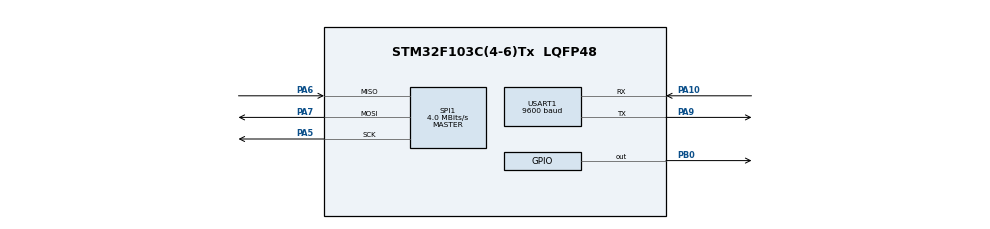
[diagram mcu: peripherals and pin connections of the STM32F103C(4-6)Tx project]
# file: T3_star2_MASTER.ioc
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Mcu.Family=STM32F1
Mcu.Name=STM32F103C(4-6)Tx
Mcu.Package=LQFP48
NVIC.PriorityGroup=NVIC_PRIORITYGROUP_4
PA10.Mode=Asynchronous
PA10.Signal=USART1_RX
PA13.Mode=Serial_Wire
PA13.Signal=SYS_JTMS-SWDIO
PA14.Mode=Serial_Wire
PA14.Signal=SYS_JTCK-SWCLK
PA5.Mode=Full_Duplex_Master
PA5.Signal=SPI1_SCK
PA6.Mode=Full_Duplex_Master
PA6.Signal=SPI1_MISO
PA7.Mode=Full_Duplex_Master
PA7.Signal=SPI1_MOSI
PA9.Mode=Asynchronous
PA9.Signal=USART1_TX
PB0.Signal=GPIO_Output
ProjectManager.HeapSize=0x200
ProjectManager.StackSize=0x400
ProjectManager.TargetToolchain=STM32CubeIDE
RCC.APB1Freq_Value=8000000
RCC.APB2Freq_Value=8000000
SPI1.CalculateBaudRate=4.0 MBits/s
SPI1.Direction=SPI_DIRECTION_2LINES
SPI1.Mode=SPI_MODE_MASTER
SPI1.VirtualType=VM_MASTER
USART1.BaudRate=9600
USART1.VirtualMode=VM_ASYNC
board=custom

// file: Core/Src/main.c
/* USER CODE BEGIN Header */
/**
 ******************************************************************************
 * @file           : main.c
 * @brief          : Main program body
 ******************************************************************************
 * @attention
 *
 * Copyright (c) 2025 STMicroelectronics.
 * All rights reserved.
 *
 * This software is licensed under terms that can be found in the LICENSE file
 * in the root directory of this software component.
 * If no LICENSE file comes with this software, it is provided AS-IS.
 *
 ******************************************************************************
 */
/* USER CODE END Header */
#include "main.h"

/* USER CODE BEGIN PTD */
typedef struct
{
  uint16_t case_id;
  float voltage;
  uint16_t speed;
} CaseData;

CaseData cases[5] = {
    {0x1001, 12.3, 200},
    {0x1002, 14.2, 150},
    {0x1003, 13.8, 100},
    {0x1004, 11.5, 220},
    {0x1005, 10.9, 280}};

/* USER CODE END PTD */

SPI_HandleTypeDef hspi1;

UART_HandleTypeDef huart1;

void SystemClock_Config(void);
static void MX_GPIO_Init(void);
static void MX_SPI1_Init(void);
static void MX_USART1_UART_Init(void);

int main(void)
{

  /* MCU Configuration--------------------------------------------------------*/

  /* Reset of all peripherals, Initializes the Flash interface and the Systick. */
  HAL_Init();

  /* Configure the system clock */
  SystemClock_Config();

  /* Initialize all configured peripherals */
  MX_GPIO_Init();
  MX_SPI1_Init();
  MX_USART1_UART_Init();
  HAL_SPI_Init(&hspi1);
  /* USER CODE BEGIN 2 */

  char x[] = "Enter case number (1-5): ";
  uint8_t rx_uart;
  uint16_t case_id;
  uint8_t tx_id[2];
  uint8_t rx_data[3];
  uint8_t dummy_tx[3] = {0xFF, 0xFF, 0xFF};
  char outmsg[80];

  /* USER CODE END 2 */

  /* Infinite loop */
  /* USER CODE BEGIN WHILE */
  while (1)
  {
    HAL_UART_Transmit(&huart1, (uint8_t *)x, strlen(x), HAL_MAX_DELAY);

    // Read input from UART
    HAL_UART_Receive(&huart1, (uint8_t *)&rx_uart, 1, HAL_MAX_DELAY);

    if (rx_uart < '1' || rx_uart > '5')
    {
      char err[] = "Invalid input. Enter 1..5\r\n";
      HAL_UART_Transmit(&huart1, (uint8_t *)err, strlen(err), HAL_MAX_DELAY);
      HAL_Delay(50);
      continue;
    }

    case_id = 0x1000 + (rx_uart - '0');
    HAL_UART_Transmit(&huart1, (uint8_t *)"\r\n", 2, HAL_MAX_DELAY);

    tx_id[0] = (case_id >> 8) & 0xFF;
    tx_id[1] = case_id & 0xFF;

    // Send Case ID
    HAL_GPIO_WritePin(GPIOB, GPIO_PIN_0, GPIO_PIN_RESET);
    HAL_SPI_Transmit(&hspi1, tx_id, 2, HAL_MAX_DELAY);
    HAL_GPIO_WritePin(GPIOB, GPIO_PIN_0, GPIO_PIN_SET);

    // Read encoded response
    HAL_GPIO_WritePin(GPIOB, GPIO_PIN_0, GPIO_PIN_RESET);
    HAL_SPI_TransmitReceive(&hspi1, dummy_tx, rx_data, 3, HAL_MAX_DELAY);
    HAL_GPIO_WritePin(GPIOB, GPIO_PIN_0, GPIO_PIN_SET);

    // Decode
    uint32_t encoded = ((uint32_t)rx_data[0] << 16) |
                       ((uint32_t)rx_data[1] << 8) |
                       (uint32_t)rx_data[2];

    float voltage = (float)(encoded >> 12) / 10.0f;

    uint16_t speed = (uint16_t)(encoded & 0x0FFF);

    int len = snprintf(outmsg, sizeof(outmsg),
                       "Case 0x%04X => Voltage: %.1f V, Speed: %d RPM\r\n",
                       case_id, voltage, speed);
    HAL_UART_Transmit(&huart1, (uint8_t *)outmsg, len, HAL_MAX_DELAY);

    HAL_Delay(50);
    /* USER CODE END WHILE */

  }
}

void SystemClock_Config(void)
{
  RCC_OscInitTypeDef RCC_OscInitStruct = {0};
  RCC_ClkInitTypeDef RCC_ClkInitStruct = {0};

  /** Initializes the RCC Oscillators according to the specified parameters
  * in the RCC_OscInitTypeDef structure.
  */
  RCC_OscInitStruct.OscillatorType = RCC_OSCILLATORTYPE_HSI;
  RCC_OscInitStruct.HSIState = RCC_HSI_ON;
  RCC_OscInitStruct.HSICalibrationValue = RCC_HSICALIBRATION_DEFAULT;
  RCC_OscInitStruct.PLL.PLLState = RCC_PLL_NONE;
  if (HAL_RCC_OscConfig(&RCC_OscInitStruct) != HAL_OK)
  {
    Error_Handler();
  }

  /** Initializes the CPU, AHB and APB buses clocks
  */
  RCC_ClkInitStruct.ClockType = RCC_CLOCKTYPE_HCLK|RCC_CLOCKTYPE_SYSCLK
                              |RCC_CLOCKTYPE_PCLK1|RCC_CLOCKTYPE_PCLK2;
  RCC_ClkInitStruct.SYSCLKSource = RCC_SYSCLKSOURCE_HSI;
  RCC_ClkInitStruct.AHBCLKDivider = RCC_SYSCLK_DIV1;
  RCC_ClkInitStruct.APB1CLKDivider = RCC_HCLK_DIV1;
  RCC_ClkInitStruct.APB2CLKDivider = RCC_HCLK_DIV1;

  if (HAL_RCC_ClockConfig(&RCC_ClkInitStruct, FLASH_LATENCY_0) != HAL_OK)
  {
    Error_Handler();
  }
}

static void MX_SPI1_Init(void)
{

  /* SPI1 parameter configuration*/
  hspi1.Instance = SPI1;
  hspi1.Init.Mode = SPI_MODE_MASTER;
  hspi1.Init.Direction = SPI_DIRECTION_2LINES;
  hspi1.Init.DataSize = SPI_DATASIZE_8BIT;
  hspi1.Init.CLKPolarity = SPI_POLARITY_LOW;
  hspi1.Init.CLKPhase = SPI_PHASE_1EDGE;
  hspi1.Init.NSS = SPI_NSS_SOFT;
  hspi1.Init.BaudRatePrescaler = SPI_BAUDRATEPRESCALER_2;
  hspi1.Init.FirstBit = SPI_FIRSTBIT_MSB;
  hspi1.Init.TIMode = SPI_TIMODE_DISABLE;
  hspi1.Init.CRCCalculation = SPI_CRCCALCULATION_DISABLE;
  hspi1.Init.CRCPolynomial = 10;
  if (HAL_SPI_Init(&hspi1) != HAL_OK)
  {
    Error_Handler();
  }

}

static void MX_USART1_UART_Init(void)
{

  huart1.Instance = USART1;
  huart1.Init.BaudRate = 9600;
  huart1.Init.WordLength = UART_WORDLENGTH_8B;
  huart1.Init.StopBits = UART_STOPBITS_1;
  huart1.Init.Parity = UART_PARITY_NONE;
  huart1.Init.Mode = UART_MODE_TX_RX;
  huart1.Init.HwFlowCtl = UART_HWCONTROL_NONE;
  huart1.Init.OverSampling = UART_OVERSAMPLING_16;
  if (HAL_UART_Init(&huart1) != HAL_OK)
  {
    Error_Handler();
  }

}

static void MX_GPIO_Init(void)
{
  GPIO_InitTypeDef GPIO_InitStruct = {0};

  /* GPIO Ports Clock Enable */
  __HAL_RCC_GPIOA_CLK_ENABLE();
  __HAL_RCC_GPIOB_CLK_ENABLE();

  /*Configure GPIO pin Output Level */
  HAL_GPIO_WritePin(GPIOB, GPIO_PIN_0, GPIO_PIN_RESET);

  /*Configure GPIO pin : PB0 */
  GPIO_InitStruct.Pin = GPIO_PIN_0;
  GPIO_InitStruct.Mode = GPIO_MODE_OUTPUT_PP;
  GPIO_InitStruct.Pull = GPIO_NOPULL;
  GPIO_InitStruct.Speed = GPIO_SPEED_FREQ_LOW;
  HAL_GPIO_Init(GPIOB, &GPIO_InitStruct);

}

void Error_Handler(void)
{
  __disable_irq();
  while (1)
  {
  }
}
